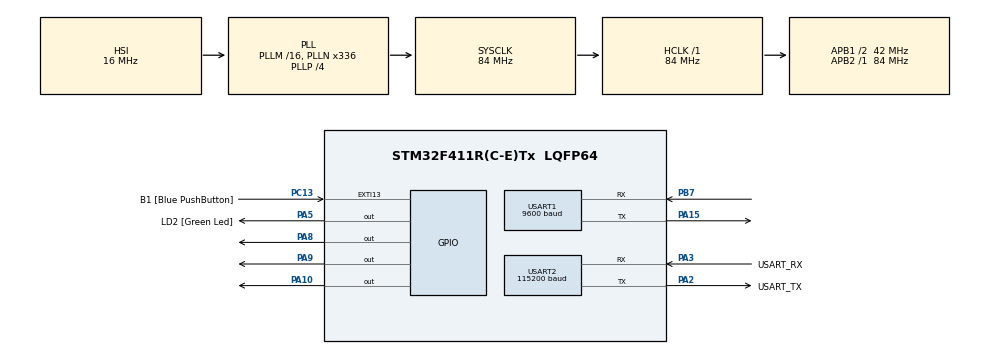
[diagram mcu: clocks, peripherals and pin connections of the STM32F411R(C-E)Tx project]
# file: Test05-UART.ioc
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Dma.Request0=USART2_RX
Dma.USART2_RX.0.Direction=DMA_PERIPH_TO_MEMORY
Dma.USART2_RX.0.FIFOMode=DMA_FIFOMODE_DISABLE
Dma.USART2_RX.0.Instance=DMA1_Stream5
Dma.USART2_RX.0.MemDataAlignment=DMA_MDATAALIGN_BYTE
Dma.USART2_RX.0.MemInc=DMA_MINC_ENABLE
Dma.USART2_RX.0.Mode=DMA_CIRCULAR
Dma.USART2_RX.0.PeriphDataAlignment=DMA_PDATAALIGN_BYTE
Dma.USART2_RX.0.PeriphInc=DMA_PINC_DISABLE
Dma.USART2_RX.0.Priority=DMA_PRIORITY_LOW
Mcu.Family=STM32F4
Mcu.Name=STM32F411R(C-E)Tx
Mcu.Package=LQFP64
NVIC.DMA1_Stream5_IRQn=true\:0\:0\:false\:false\:true\:false\:true\:true
NVIC.EXTI15_10_IRQn=true\:0\:0\:false\:false\:true\:true\:true\:true
NVIC.PriorityGroup=NVIC_PRIORITYGROUP_0
NVIC.TIM3_IRQn=true\:0\:0\:false\:false\:true\:true\:true\:true
NVIC.USART1_IRQn=true\:0\:0\:false\:false\:true\:true\:true\:true
NVIC.USART2_IRQn=true\:0\:0\:false\:false\:true\:true\:true\:true
PA10.Signal=GPIO_Output
PA13.GPIO_Label=TMS
PA13.Mode=Serial_Wire
PA13.Signal=SYS_JTMS-SWDIO
PA14.GPIO_Label=TCK
PA14.Mode=Serial_Wire
PA14.Signal=SYS_JTCK-SWCLK
PA15.Mode=Asynchronous
PA15.Signal=USART1_TX
PA2.GPIO_Label=USART_TX
PA2.Mode=Asynchronous
PA2.Signal=USART2_TX
PA3.GPIO_Label=USART_RX
PA3.Mode=Asynchronous
PA3.Signal=USART2_RX
PA5.GPIO_Label=LD2 [Green Led]
PA5.Signal=GPIO_Output
PA8.Signal=GPIO_Output
PA9.Signal=GPIO_Output
PB3.GPIO_Label=SWO
PB3.Signal=SYS_JTDO-SWO
PB7.Mode=Asynchronous
PB7.Signal=USART1_RX
PC13-ANTI_TAMP.GPIO_Label=B1 [Blue PushButton]
PC13-ANTI_TAMP.GPIO_ModeDefaultEXTI=GPIO_MODE_IT_FALLING
PC13-ANTI_TAMP.Signal=GPXTI13
PC14-OSC32_IN.Mode=LSE-External-Oscillator
PC14-OSC32_IN.Signal=RCC_OSC32_IN
PC15-OSC32_OUT.Mode=LSE-External-Oscillator
PC15-OSC32_OUT.Signal=RCC_OSC32_OUT
PH0\ -\ OSC_IN.Mode=HSE-External-Clock-Source
PH0\ -\ OSC_IN.Signal=RCC_OSC_IN
PH1\ -\ OSC_OUT.Mode=HSE-External-Clock-Source
PH1\ -\ OSC_OUT.Signal=RCC_OSC_OUT
ProjectManager.HeapSize=0x200
ProjectManager.StackSize=0x400
ProjectManager.TargetToolchain=STM32CubeIDE
RCC.48MHZClocksFreq_Value=84000000
RCC.AHBFreq_Value=84000000
RCC.APB1CLKDivider=RCC_HCLK_DIV2
RCC.APB1Freq_Value=42000000
RCC.APB1TimFreq_Value=84000000
RCC.APB2Freq_Value=84000000
RCC.APB2TimFreq_Value=84000000
RCC.CortexFreq_Value=84000000
RCC.FLatency-AdvancedSettings=FLASH_LATENCY_2
RCC.HCLKFreq_Value=84000000
RCC.HSE_VALUE=8000000
RCC.HSI_VALUE=16000000
RCC.PLLN=336
RCC.PLLP=RCC_PLLP_DIV4
RCC.SYSCLKFreq_VALUE=84000000
RCC.SYSCLKSource=RCC_SYSCLKSOURCE_PLLCLK
RCC.VCOOutputFreq_Value=336000000
TIM3.Period=10000-1
TIM3.Prescaler=8400-1
USART1.BaudRate=9600
USART1.VirtualMode=VM_ASYNC
USART2.BaudRate=115200
USART2.VirtualMode=VM_ASYNC
VP_TIM3_VS_ClockSourceINT.Mode=Internal
board=NUCLEO-F411RE

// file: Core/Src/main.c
/* USER CODE BEGIN Header */
/**
  ******************************************************************************
  * @file           : main.c
  * @brief          : Main program body
  ******************************************************************************
  * @attention
  *
  * Copyright (c) 2023 STMicroelectronics.
  * All rights reserved.
  *
  * This software is licensed under terms that can be found in the LICENSE file
  * in the root directory of this software component.
  * If no LICENSE file comes with this software, it is provided AS-IS.
  *
  ******************************************************************************
  */
/* USER CODE END Header */
#include "main.h"
#include "dma.h"
#include "tim.h"
#include "usart.h"
#include "gpio.h"

/* USER CODE BEGIN Includes */
#include <string.h>
/* USER CODE END Includes */

/* USER CODE BEGIN PD */

//#define LED
//#define INTERRUPT
//#define DMA
#define BT
#define RX_BUF_SIZE	100

/* USER CODE END PD */

void SystemClock_Config(void);

/* USER CODE BEGIN 0 */
int __io_putchar(int _ch) // printf
{
	// console output function

	HAL_UART_Transmit(&huart2, &_ch, 1, 10); // 1byte transfer
	// &ch is stack pointer(ch's data address)

	return _ch;
}

int __io_getchar(void) // console input (scanf)
{
	// receive data function

	char ch = 0;

	while(1)
	{
		// stay until input

		HAL_StatusTypeDef r = HAL_UART_Receive(&huart2, &ch, 1, 10);

		if(r == HAL_OK)
		{
			break;
		}
	}

//	while(HAL_UART_Receive(&huart2, &ch, 1, 10) != HAL_OK)
//	{
//
//	}

	HAL_UART_Transmit(&huart2, &ch, 1, 10); // echo from input

	return ch;
}

int scanfEx1(int* _k)
{
	unsigned char buff[10], c; // tmp storage

	int idx = 0;

//	while((c = __io_getchar()) != '0x0d') // '0x0d' is \r(enter)
//	{
//		buff[idx++] = c;
//	}

	while(1)
	{
		c = __io_getchar(); // read 1 byte

		if(c == 0x0d) // if last byte is "\r"
		{
			break;
		}

		if(c < '0' || c > '9')
		{
			break;
		}

		if(idx > 9)
		{
			break;
		}

		buff[idx++] = c;
	}

	buff[idx] = 0; // make last buff[idx] 'null(0)'

	*_k = atoi(buff);

	return 1;
}

int GetKey()	// interface function
{
	return __io_getchar();
}

#ifdef LED
char key;

void LED_CONTROL()
{
	printf("Input \"R\", \"G\", \"Y\" to turn on LED\r\n");

	key = GetKey();

	switch (key)
	{
	  case 'R':
	  case 'r':
		  HAL_GPIO_TogglePin(GPIOA, GPIO_PIN_10);
		  HAL_Delay(500);

		  break;
	  case 'G':
	  case 'g':
		  HAL_GPIO_TogglePin(GPIOA, GPIO_PIN_8);
		  HAL_Delay(500);

		  break;
	  case 'Y':
	  case 'y':
		  HAL_GPIO_TogglePin(GPIOA, GPIO_PIN_9);
		  HAL_Delay(500);

		  break;
	  default:
		  HAL_GPIO_WritePin(GPIOA, GPIO_PIN_10, 0);
		  HAL_GPIO_WritePin(GPIOA, GPIO_PIN_8, 0);
		  HAL_GPIO_WritePin(GPIOA, GPIO_PIN_9, 0);

		  printf("wrong entered %c\r\n", key);

		  break;
	}
}
#endif

#ifdef INTERRUPT

char rxBuff[RX_BUF_SIZE], rxTemp; // rxTemp : temp storage for received data
int	rxIdx = 0;

void HAL_UART_RxCpltCallback(UART_HandleTypeDef* huart) // it works one time
{
	// Receive part need buffer
	rxBuff[rxIdx++] = rxTemp; // save received data in array;

	HAL_UART_Receive_IT(&huart2, &rxTemp, sizeof(rxTemp));
}
#endif

#ifdef DMA

char rxBuff[RX_BUF_SIZE]; // circular memory
char dmaBuff[RX_BUF_SIZE];
int head = 0, tail = 0;

char* GetDmaData() // uart2 dma function
{
	int len = 0;

	tail = RX_BUF_SIZE - huart2.hdmarx->Instance->NDTR; // remain space in DMA buffer(register)

	if(head == tail)
	{
		return 0;
	}

	if(tail > head)
	{
		memcpy(dmaBuff, rxBuff + head, tail - head);
		// memcpy(target, source, size)
		// rxBuff + head == &rxBuff[head]
		len = tail - head;
	}
	else // tail < head => move pointer to bottom
	{
		memcpy(dmaBuff, rxBuff + head, RX_BUF_SIZE - head);
		memcpy(dmaBuff + (RX_BUF_SIZE - head), rxBuff, tail); // save after first copy

		len = RX_BUF_SIZE - head + tail;
	}

	dmaBuff[len] = 0; // null for last word in dmaBuff

	head = tail;

	return dmaBuff;
}

void HAL_GPIO_EXTI_Callback(uint16_t GPIO_Pin)
{
	if(GPIO_Pin == B1_Pin)
	{
	  char* str = GetDmaData(); // str = NULL, if no data

	  if(str)
	  {
		  printf("[Receive  Buffer] %s\r\n", rxBuff);
		  printf("[Received String] %s\r\n", str);
	  }
	}
}
#endif

#ifdef BT

char rxBuff1[RX_BUF_SIZE], rxTemp; // uart1
char rxBuff2[RX_BUF_SIZE];		   // uart2
int rxIdx1 = 0, rxIdx2 = 0;
char dmaBuff[RX_BUF_SIZE];
int head = 0, tail = 0;

int op = -1; // 0~3 : NULL, CR, CRLF, LFCR
char* EL[] = {"\0", "\r", "\r\n", "\n\r"};

char* GetDmaData()
{
	int len = 0;

	tail = RX_BUF_SIZE - huart2.hdmarx->Instance->NDTR; // remain space in DMA buffer(register)

	if(head == tail)
	{
		return 0;
	}

	if(tail > head)
	{
		memcpy(dmaBuff, rxBuff2 + head, tail - head);
		// memcpy(target, source, size)
		// rxBuff + head == &rxBuff[head]
		len = tail - head;
	}
	else // tail < head => move pointer to bottom
	{
		memcpy(dmaBuff, rxBuff2 + head, RX_BUF_SIZE - head);
		memcpy(dmaBuff + (RX_BUF_SIZE - head), rxBuff2, tail); // save after first copy

		len = RX_BUF_SIZE - head + tail;
	}

	dmaBuff[len] = 0; // null for last word in dmaBuff

	head = tail;

	return dmaBuff;
}

void HAL_UART_RxCpltCallback(UART_HandleTypeDef* huart) // it works one time
														// all uart1, 2, 6 call this function at interrupt
{
	if(huart->Instance == huart1.Instance) // if data from uart1(BT)
	{
		rxBuff1[rxIdx1++] = rxTemp;

		if(rxTemp == 0 || rxTemp == '\r' || rxTemp == '\n') // end of sentence? ('\r', '\n', '\0')
		{
			HAL_UART_Transmit(&huart2, rxBuff1, rxIdx1, 10); // transfer data to uart2(to show in console)
			HAL_UART_Transmit(&huart2, "\r\n", 2, 10); // output cr+lf in console

			rxIdx1 = 0; // reset idx1
		}
	}
	else if(huart->Instance == huart2.Instance)
	{
		rxBuff2[rxIdx2++] = rxTemp;

		if(rxTemp == '\0' || rxTemp == '\r' || rxTemp == '\n') // end of sentence? ('\r', '\n', '\0')
		{
			// BT>AT???? form command
			if(strncmp(rxBuff2, "BT>", 3) == 0)
			{
				HAL_UART_Transmit(&huart1, rxBuff2 + 3, rxIdx2 - 4, 10); // transfer data to uart1(to control BT)
				HAL_UART_Transmit(&huart1, EL[op], strlen(EL[op]), 10); // end of command

				HAL_UART_Transmit(&huart2, rxBuff2 + 3, rxIdx2 - 4, 10); // transfer data to uart2(to show in console)
				HAL_UART_Transmit(&huart2, EL[op], strlen(EL[op]), 10); // end of command
			}
			else // other input
			{
				// just echo now

				HAL_UART_Transmit(&huart2, rxBuff2, rxIdx2, 10); // transfer data to uart2(to show in console)
				HAL_UART_Transmit(&huart2, "\r\n", 2, 10); // output cr+lf in console

				HAL_UART_Transmit(&huart1, rxBuff2, rxIdx2, 10); // transfer data to uart1(to BT)
				HAL_UART_Transmit(&huart1, "\r\n", 2, 10); // end of command
			}

			rxIdx2 = 0; // reset idx2
		}
	}

	HAL_UART_Receive_IT(huart, &rxTemp, sizeof(rxTemp)); // make ready for next interrupt
}

void HAL_TIM_PeriodElapsedCallback(TIM_HandleTypeDef* htim)
{
//	char* str = GetDmaData();
//
//	if(str)
//	{
//		printf("%s\r\n", str);
//	}

	if(htim->Instance = htim3.Instance)
	{
		if(rxIdx1 > 0)
		{
			printf("%s\r\n", rxBuff1);

			rxIdx1 = 0;
		}
	}
}

#endif

/* USER CODE END 0 */

int main(void)
{

  /* MCU Configuration--------------------------------------------------------*/

  /* Reset of all peripherals, Initializes the Flash interface and the Systick. */
  HAL_Init();

  /* Configure the system clock */
  SystemClock_Config();

  /* Initialize all configured peripherals */
  MX_GPIO_Init();
  MX_DMA_Init();
  MX_USART2_UART_Init();
  MX_USART1_UART_Init();
  MX_TIM3_Init();
  /* USER CODE BEGIN 2 */
  printf("\033[1J\033[1;1HUART Program Start....!\r\n");

#if defined INTERRUPT || defined DMA || defined LED

  int k = 0;

  while(1)
  {
		printf("Input '2' Key to Start\r\n");

		scanfEx1(&k);

		if(k == 2)
		{
			break;
		}
		else
		{
			printf("wrong entered %d\r\n", k);
		}
  }

  printf("OK....!\r\n");
#endif

#ifdef INTERRUPT
  HAL_UART_Receive_IT(&huart2, &rxTemp, sizeof(rxTemp)); // rxTemp == receive buffer
  // interrupt with 1 byte received
#endif

#ifdef DMA
  HAL_UART_Receive_DMA(&huart2, rxBuff, sizeof(rxBuff)); // sizeof(rxBuff) == RX_BUF_SIZE
#endif

#ifdef BT
  while(1)
  {
	  printf("Input End-Line option\r\n");
	  printf(" '0' : NULL\r\n");
	  printf(" '1' : CR\r\n");
	  printf(" '2' : CRLF\r\n");
	  printf(" '3' : LFCR\r\n");

	  scanfEx1(&op);

	  if(op >= 0 && op < 4)
		  break;
  }

  printf("ok...... %d\r\n", op);

  HAL_UART_Receive_IT(&huart1, &rxTemp, sizeof(rxTemp));
  HAL_UART_Receive_IT(&huart2, &rxTemp, sizeof(rxTemp));
  // HAL_UART_Receive_DMA(&huart2, rxBuff, sizeof(rxBuff));
  HAL_TIM_Base_Start_IT(&htim3);
#endif

  /* USER CODE END 2 */

  /* Infinite loop */
  /* USER CODE BEGIN WHILE */
  while (1)
  {

#ifdef LED
	  LED_CONTROL() // LED controlled by kbd
#endif

#ifdef INTERRUPT
	  if(rxIdx)
	  {
		  rxBuff[rxIdx] = 0; // make rxBuff last word to '0';

		  printf("[Received String] %s\r\n", rxBuff);

		  rxIdx = 0;
	  }

	  HAL_Delay(1000);
#endif

    /* USER CODE END WHILE */

  }
}

void SystemClock_Config(void)
{
  RCC_OscInitTypeDef RCC_OscInitStruct = {0};
  RCC_ClkInitTypeDef RCC_ClkInitStruct = {0};

  /** Configure the main internal regulator output voltage
  */
  __HAL_RCC_PWR_CLK_ENABLE();
  __HAL_PWR_VOLTAGESCALING_CONFIG(PWR_REGULATOR_VOLTAGE_SCALE1);

  /** Initializes the RCC Oscillators according to the specified parameters
  * in the RCC_OscInitTypeDef structure.
  */
  RCC_OscInitStruct.OscillatorType = RCC_OSCILLATORTYPE_HSI;
  RCC_OscInitStruct.HSIState = RCC_HSI_ON;
  RCC_OscInitStruct.HSICalibrationValue = RCC_HSICALIBRATION_DEFAULT;
  RCC_OscInitStruct.PLL.PLLState = RCC_PLL_ON;
  RCC_OscInitStruct.PLL.PLLSource = RCC_PLLSOURCE_HSI;
  RCC_OscInitStruct.PLL.PLLM = 16;
  RCC_OscInitStruct.PLL.PLLN = 336;
  RCC_OscInitStruct.PLL.PLLP = RCC_PLLP_DIV4;
  RCC_OscInitStruct.PLL.PLLQ = 4;
  if (HAL_RCC_OscConfig(&RCC_OscInitStruct) != HAL_OK)
  {
    Error_Handler();
  }

  /** Initializes the CPU, AHB and APB buses clocks
  */
  RCC_ClkInitStruct.ClockType = RCC_CLOCKTYPE_HCLK|RCC_CLOCKTYPE_SYSCLK
                              |RCC_CLOCKTYPE_PCLK1|RCC_CLOCKTYPE_PCLK2;
  RCC_ClkInitStruct.SYSCLKSource = RCC_SYSCLKSOURCE_PLLCLK;
  RCC_ClkInitStruct.AHBCLKDivider = RCC_SYSCLK_DIV1;
  RCC_ClkInitStruct.APB1CLKDivider = RCC_HCLK_DIV2;
  RCC_ClkInitStruct.APB2CLKDivider = RCC_HCLK_DIV1;

  if (HAL_RCC_ClockConfig(&RCC_ClkInitStruct, FLASH_LATENCY_2) != HAL_OK)
  {
    Error_Handler();
  }
}

void Error_Handler(void)
{
  __disable_irq();
  while (1)
  {
  }
}
